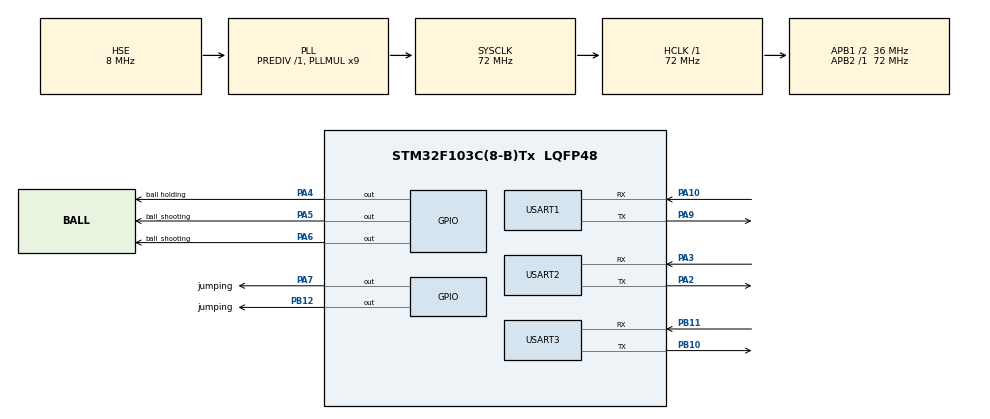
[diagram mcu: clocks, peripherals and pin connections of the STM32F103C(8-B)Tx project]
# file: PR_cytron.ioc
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Dma.Request0=USART1_RX
Dma.Request1=USART1_TX
Dma.USART1_RX.0.Direction=DMA_PERIPH_TO_MEMORY
Dma.USART1_RX.0.Instance=DMA1_Channel5
Dma.USART1_RX.0.MemDataAlignment=DMA_MDATAALIGN_BYTE
Dma.USART1_RX.0.MemInc=DMA_MINC_ENABLE
Dma.USART1_RX.0.Mode=DMA_CIRCULAR
Dma.USART1_RX.0.PeriphDataAlignment=DMA_PDATAALIGN_BYTE
Dma.USART1_RX.0.PeriphInc=DMA_PINC_DISABLE
Dma.USART1_RX.0.Priority=DMA_PRIORITY_LOW
Dma.USART1_TX.1.Direction=DMA_MEMORY_TO_PERIPH
Dma.USART1_TX.1.Instance=DMA1_Channel4
Dma.USART1_TX.1.MemDataAlignment=DMA_MDATAALIGN_BYTE
Dma.USART1_TX.1.MemInc=DMA_MINC_ENABLE
Dma.USART1_TX.1.Mode=DMA_CIRCULAR
Dma.USART1_TX.1.PeriphDataAlignment=DMA_PDATAALIGN_BYTE
Dma.USART1_TX.1.PeriphInc=DMA_PINC_DISABLE
Dma.USART1_TX.1.Priority=DMA_PRIORITY_LOW
Mcu.Family=STM32F1
Mcu.Name=STM32F103C(8-B)Tx
Mcu.Package=LQFP48
NVIC.DMA1_Channel4_IRQn=true\:0\:0\:false\:false\:true\:false\:true\:true
NVIC.DMA1_Channel5_IRQn=true\:0\:0\:false\:false\:true\:false\:true\:true
NVIC.PriorityGroup=NVIC_PRIORITYGROUP_4
PA10.Mode=Asynchronous
PA10.Signal=USART1_RX
PA13.Mode=Serial_Wire
PA13.Signal=SYS_JTMS-SWDIO
PA14.Mode=Serial_Wire
PA14.Signal=SYS_JTCK-SWCLK
PA2.Mode=Asynchronous
PA2.Signal=USART2_TX
PA3.Mode=Asynchronous
PA3.Signal=USART2_RX
PA4.GPIO_Label=ball holding
PA4.Signal=GPIO_Output
PA5.GPIO_Label=ball_shooting
PA5.Signal=GPIO_Output
PA6.GPIO_Label=ball_shooting
PA6.Signal=GPIO_Output
PA7.GPIO_Label=jumping
PA7.Signal=GPIO_Output
PA9.Mode=Asynchronous
PA9.Signal=USART1_TX
PB10.Mode=Asynchronous
PB10.Signal=USART3_TX
PB11.Mode=Asynchronous
PB11.Signal=USART3_RX
PB12.GPIO_Label=jumping
PB12.Signal=GPIO_Output
PD0-OSC_IN.Mode=HSE-External-Oscillator
PD0-OSC_IN.Signal=RCC_OSC_IN
PD1-OSC_OUT.Mode=HSE-External-Oscillator
PD1-OSC_OUT.Signal=RCC_OSC_OUT
ProjectManager.HeapSize=0x200
ProjectManager.StackSize=0x400
ProjectManager.TargetToolchain=STM32CubeIDE
RCC.AHBFreq_Value=72000000
RCC.APB1CLKDivider=RCC_HCLK_DIV2
RCC.APB1Freq_Value=36000000
RCC.APB1TimFreq_Value=72000000
RCC.APB2Freq_Value=72000000
RCC.APB2TimFreq_Value=72000000
RCC.HCLKFreq_Value=72000000
RCC.PLLMUL=RCC_PLL_MUL9
RCC.PLLSourceVirtual=RCC_PLLSOURCE_HSE
RCC.SYSCLKFreq_VALUE=72000000
RCC.SYSCLKSource=RCC_SYSCLKSOURCE_PLLCLK
RCC.USBFreq_Value=72000000
USART1.VirtualMode=VM_ASYNC
USART2.VirtualMode=VM_ASYNC
USART3.VirtualMode=VM_ASYNC
board=custom

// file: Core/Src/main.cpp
/* USER CODE BEGIN Header */
/**
  ******************************************************************************
  * @file           : main.c
  * @brief          : Main program body
  ******************************************************************************
  * @attention
  *
  * Copyright (c) 2024 STMicroelectronics.
  * All rights reserved.
  *
  * This software is licensed under terms that can be found in the LICENSE file
  * in the root directory of this software component.
  * If no LICENSE file comes with this software, it is provided AS-IS.
  *
  ******************************************************************************
  */
/* USER CODE END Header */
#include "main.h"

/* USER CODE BEGIN Includes */
#include "CYTRON.h"
#include "GY_25.h"
#include "Tribase.h"
/* USER CODE END Includes */

UART_HandleTypeDef huart1;
UART_HandleTypeDef huart2;
UART_HandleTypeDef huart3;
DMA_HandleTypeDef hdma_usart1_rx;
DMA_HandleTypeDef hdma_usart1_tx;

/* USER CODE BEGIN PV */
const uint8_t arraysize = 15;
uint8_t startbit;
uint8_t stopbit;
uint8_t ordered_data[arraysize];
uint8_t received_data[arraysize];

uint8_t sending_data[] = {0xA5, 0X52};
uint8_t received_1_data[8];
uint8_t start_1_bit;
uint8_t stop_1_bit;
uint8_t ordered_1_data[8];
int16_t Angle;

/* PID Variables */
float Kp = 1.0, Ki = 0.1, Kd = 0.05; // Tune these values based on testing
float error = 0.0, last_error = 0.0;
float integral = 0.0, derivative = 0.0;
float PID_Output = 0.0;

/* Variables for angular velocity calculation */
uint32_t last_time;
uint32_t current_time;
int16_t last_angle;
int16_t current_angle;
float omega;

/* USER CODE END PV */

void SystemClock_Config(void);
static void MX_GPIO_Init(void);
static void MX_DMA_Init(void);
static void MX_USART2_UART_Init(void);
static void MX_USART1_UART_Init(void);
static void MX_USART3_UART_Init(void);

int main(void)
{

  /* MCU Configuration--------------------------------------------------------*/

  /* Reset of all peripherals, Initializes the Flash interface and the Systick. */
  HAL_Init();

  /* USER CODE BEGIN Init */

  // Send a dummy bit to initialize

  /* USER CODE END Init */

  /* Configure the system clock */
  SystemClock_Config();

  /* Initialize all configured peripherals */
  MX_GPIO_Init();
  MX_DMA_Init();
  MX_USART2_UART_Init();
  MX_USART1_UART_Init();
  MX_USART3_UART_Init();
  /* USER CODE BEGIN 2 */

      Cytron motor1(&huart2, 0b000, 0);  // Motor 1
      motor1.send_dummy_bit();
      Cytron motor2(&huart2, 0b000, 1);  // Motor 2
      motor2.send_dummy_bit();
      Cytron motor3(&huart2, 0b001, 0);  // Motor 3
      motor3.send_dummy_bit();

      GY_25 imu(sending_data, sizeof(sending_data));

      TriBase tribase1(motor1, motor2, motor3);

      imu.GY_25Init(&huart1, 170, 85);
      tribase1.set_base_speeds(50, 50, 50);

  /* USER CODE END 2 */

  /* Infinite loop */
  while (1)
  {

    /* USER CODE BEGIN 3 */
	   startbit=1;
       stopbit=4;
	   HAL_UART_Receive(&huart3, received_data, 15, HAL_MAX_DELAY);
	          for (uint8_t i = 0; i<15; i++){
	  	  	  	  if (received_data[i] == startbit && received_data[(i+14)%15] == stopbit){
	  	  	  			for (uint8_t j = 0; j<15; j++){
	  	  	   			    ordered_data[j] = received_data[(i+j)%15];
	  	   	   			 }
	  	  	   	  }
	  	  	  }
	   imu.update_angle(&huart1);
       last_time = current_time;
       current_time =HAL_GetTick()/1000;

       last_angle = current_angle;
       current_angle = imu.get_angle();

       uint32_t delta_time = current_time - last_time;
       if (delta_time > 0){
	          int16_t delta_angle = current_angle - last_angle;
	          omega = (float)delta_angle / delta_time ;
	   }
	  if (ordered_data[5] == 2){
              //forward
	  		  tribase1.go_at_angle(0, 0, 50, omega);
	  	  } else if (ordered_data[6] == 2){
              //right
	  		  tribase1.go_at_angle(0, 50, 0, omega);
	  	  } else if (ordered_data[7] == 2){
	  		  //backward
	  		  tribase1.go_at_angle(0, 0, -50, omega);
	  	  } else if (ordered_data[8] == 2){
	  		  //left
	  		  tribase1.go_at_angle(0, -50, 0, omega);
	  	  } else if (ordered_data[10] == 2){
	  		  //clockwise
	  		  tribase1.go_at_angle(0, 0, 0, 50);
	  	  } else if (ordered_data[9] == 2){
	  		  //anticlockwise
	  		  tribase1.go_at_angle(0, 0, 0, -50);
	  	  }
//else if (ordered_data[1]==2){
//	  		 //hold
//             HAL_GPIO_TogglePin(GPIOB,GPIO_PIN_12);
//	  		 HAL_GPIO_TogglePin(GPIOA,GPIO_PIN_7);
//	      }else if (ordered_data[2]==2){
//	  		 	//jump
//	  		//HAL_GPIO_TogglePin(GPIOA,GPIO_PIN_5);
//	  		//HAL_GPIO_TogglePin(GPIOA,GPIO_PIN_6);
//          }
	  		 else if (ordered_data[11]==2){
                  //shoot
              HAL_GPIO_WritePin(GPIOA,GPIO_PIN_5,GPIO_PIN_SET);
              HAL_Delay(200);
              HAL_GPIO_WritePin(GPIOA,GPIO_PIN_5,GPIO_PIN_RESET);

          }else if (ordered_data[12]==2){
                //release
              HAL_GPIO_WritePin(GPIOA,GPIO_PIN_6,GPIO_PIN_SET);
              HAL_Delay(200);
              HAL_GPIO_WritePin(GPIOA,GPIO_PIN_6,GPIO_PIN_RESET);
          }else {
	  		  tribase1.brake();
	  	  }
//	  motor_1.anti_clockwise(255);
//	  motor_2.anti_clockwise(255);
//	  motor_3.anti_clockwise(255);
//	  HAL_Delay(1000);
//	  motor_1.clockwise(255);
//	  motor_2.clockwise(255);
//	  motor_3.clockwise(255);
//	  HAL_Delay(1000);

//	     /* PID Calculation */
//	     error = desired_omega - omega;
//	     integral += error * delta_time;
//	     derivative = (error - last_error) / delta_time;
//	     PID_Output = (Kp * error) + (Ki * integral) + (Kd * derivative);
//

 	  }
  /* USER CODE END 3 */
}

void SystemClock_Config(void)
{
  RCC_OscInitTypeDef RCC_OscInitStruct = {0};
  RCC_ClkInitTypeDef RCC_ClkInitStruct = {0};

  /** Initializes the RCC Oscillators according to the specified parameters
  * in the RCC_OscInitTypeDef structure.
  */
  RCC_OscInitStruct.OscillatorType = RCC_OSCILLATORTYPE_HSE;
  RCC_OscInitStruct.HSEState = RCC_HSE_ON;
  RCC_OscInitStruct.HSEPredivValue = RCC_HSE_PREDIV_DIV1;
  RCC_OscInitStruct.HSIState = RCC_HSI_ON;
  RCC_OscInitStruct.PLL.PLLState = RCC_PLL_ON;
  RCC_OscInitStruct.PLL.PLLSource = RCC_PLLSOURCE_HSE;
  RCC_OscInitStruct.PLL.PLLMUL = RCC_PLL_MUL9;
  if (HAL_RCC_OscConfig(&RCC_OscInitStruct) != HAL_OK)
  {
    Error_Handler();
  }

  /** Initializes the CPU, AHB and APB buses clocks
  */
  RCC_ClkInitStruct.ClockType = RCC_CLOCKTYPE_HCLK|RCC_CLOCKTYPE_SYSCLK
                              |RCC_CLOCKTYPE_PCLK1|RCC_CLOCKTYPE_PCLK2;
  RCC_ClkInitStruct.SYSCLKSource = RCC_SYSCLKSOURCE_PLLCLK;
  RCC_ClkInitStruct.AHBCLKDivider = RCC_SYSCLK_DIV1;
  RCC_ClkInitStruct.APB1CLKDivider = RCC_HCLK_DIV2;
  RCC_ClkInitStruct.APB2CLKDivider = RCC_HCLK_DIV1;

  if (HAL_RCC_ClockConfig(&RCC_ClkInitStruct, FLASH_LATENCY_2) != HAL_OK)
  {
    Error_Handler();
  }
}

static void MX_USART1_UART_Init(void)
{

  huart1.Instance = USART1;
  huart1.Init.BaudRate = 115200;
  huart1.Init.WordLength = UART_WORDLENGTH_8B;
  huart1.Init.StopBits = UART_STOPBITS_1;
  huart1.Init.Parity = UART_PARITY_NONE;
  huart1.Init.Mode = UART_MODE_TX_RX;
  huart1.Init.HwFlowCtl = UART_HWCONTROL_NONE;
  huart1.Init.OverSampling = UART_OVERSAMPLING_16;
  if (HAL_UART_Init(&huart1) != HAL_OK)
  {
    Error_Handler();
  }

}

static void MX_USART2_UART_Init(void)
{

  huart2.Instance = USART2;
  huart2.Init.BaudRate = 115200;
  huart2.Init.WordLength = UART_WORDLENGTH_8B;
  huart2.Init.StopBits = UART_STOPBITS_1;
  huart2.Init.Parity = UART_PARITY_NONE;
  huart2.Init.Mode = UART_MODE_TX_RX;
  huart2.Init.HwFlowCtl = UART_HWCONTROL_NONE;
  huart2.Init.OverSampling = UART_OVERSAMPLING_16;
  if (HAL_UART_Init(&huart2) != HAL_OK)
  {
    Error_Handler();
  }

}

static void MX_USART3_UART_Init(void)
{

  huart3.Instance = USART3;
  huart3.Init.BaudRate = 115200;
  huart3.Init.WordLength = UART_WORDLENGTH_8B;
  huart3.Init.StopBits = UART_STOPBITS_1;
  huart3.Init.Parity = UART_PARITY_NONE;
  huart3.Init.Mode = UART_MODE_TX_RX;
  huart3.Init.HwFlowCtl = UART_HWCONTROL_NONE;
  huart3.Init.OverSampling = UART_OVERSAMPLING_16;
  if (HAL_UART_Init(&huart3) != HAL_OK)
  {
    Error_Handler();
  }

}

static void MX_DMA_Init(void)
{

  /* DMA controller clock enable */
  __HAL_RCC_DMA1_CLK_ENABLE();

  /* DMA interrupt init */
  /* DMA1_Channel4_IRQn interrupt configuration */
  HAL_NVIC_SetPriority(DMA1_Channel4_IRQn, 0, 0);
  HAL_NVIC_EnableIRQ(DMA1_Channel4_IRQn);
  /* DMA1_Channel5_IRQn interrupt configuration */
  HAL_NVIC_SetPriority(DMA1_Channel5_IRQn, 0, 0);
  HAL_NVIC_EnableIRQ(DMA1_Channel5_IRQn);

}

static void MX_GPIO_Init(void)
{
  GPIO_InitTypeDef GPIO_InitStruct = {0};

  /* GPIO Ports Clock Enable */
  __HAL_RCC_GPIOD_CLK_ENABLE();
  __HAL_RCC_GPIOA_CLK_ENABLE();
  __HAL_RCC_GPIOB_CLK_ENABLE();

  /*Configure GPIO pin Output Level */
  HAL_GPIO_WritePin(GPIOA, ball_holding_Pin|ball_shooting_Pin|ball_shootingA6_Pin|jumping_Pin, GPIO_PIN_RESET);

  /*Configure GPIO pin Output Level */
  HAL_GPIO_WritePin(jumpingB12_GPIO_Port, jumpingB12_Pin, GPIO_PIN_RESET);

  /*Configure GPIO pins : ball_holding_Pin ball_shooting_Pin ball_shootingA6_Pin jumping_Pin */
  GPIO_InitStruct.Pin = ball_holding_Pin|ball_shooting_Pin|ball_shootingA6_Pin|jumping_Pin;
  GPIO_InitStruct.Mode = GPIO_MODE_OUTPUT_PP;
  GPIO_InitStruct.Pull = GPIO_NOPULL;
  GPIO_InitStruct.Speed = GPIO_SPEED_FREQ_LOW;
  HAL_GPIO_Init(GPIOA, &GPIO_InitStruct);

  /*Configure GPIO pin : jumpingB12_Pin */
  GPIO_InitStruct.Pin = jumpingB12_Pin;
  GPIO_InitStruct.Mode = GPIO_MODE_OUTPUT_PP;
  GPIO_InitStruct.Pull = GPIO_NOPULL;
  GPIO_InitStruct.Speed = GPIO_SPEED_FREQ_LOW;
  HAL_GPIO_Init(jumpingB12_GPIO_Port, &GPIO_InitStruct);

}

void Error_Handler(void)
{
  __disable_irq();
  while (1)
  {
  }
}
